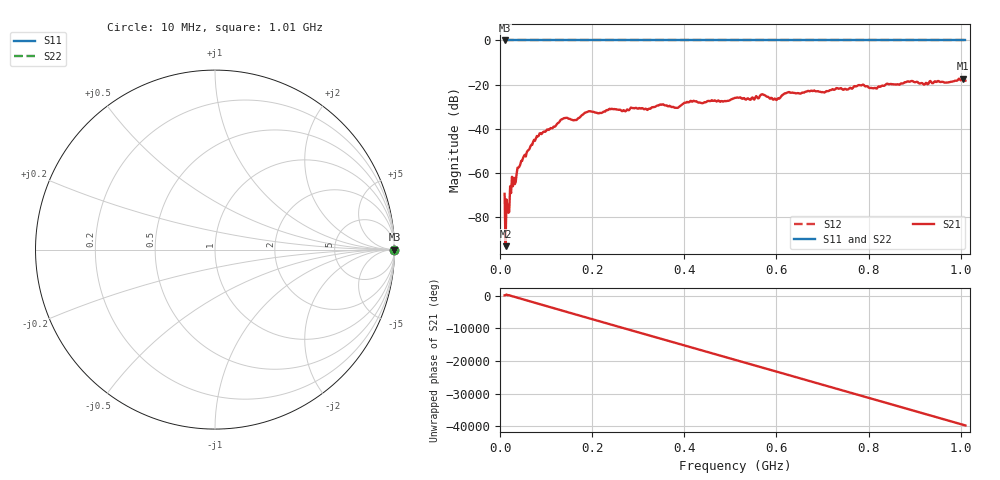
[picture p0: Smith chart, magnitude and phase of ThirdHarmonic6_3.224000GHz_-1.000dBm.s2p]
! 8/17/2025 9:51:11 AM
! C:\ANRITSUVNA\TEMP\TEMP.S2P
! CHANNEL.1
! TR.MEASUREMENT
! RAW.DATA
! RF.CORRECTION.OFF
! AVERAGING.OFF
! IF.BANDWIDTH: 5KHZ
! SWEEPTYPE:  FREQ.SWEEP(Linear)
! Reference Plane Port Info
! PORT:  PORT1  PORT2
! DISTANCE:  0  m  0  m
! TIME:  0  s  0  s
! PHASE.OFFSET:  0  deg.  0  deg.
! LOSS:  0  dB  0  dB
! REF.LOSS:  0  dB  0  dB
! REF.FREQ:  0  Hz  0  Hz
! Power Info
! POWER:  -20  dBm  -20  dBm
! EFF.POWER:  -20  dBm  -20  dBm
! SOURCE.ATTEN:  0  dB  0  dB
! TEST.ATTEN:  0  dB  0  dB
# GHZ S RI R 50.0
! FREQ.GHZ  S11RE  S11IM  S21RE  S21IM  S12RE  S12IM  S22RE  S22IM
!; PortSelection: Port_12
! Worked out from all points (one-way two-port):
!   501 points, 10 MHz to 1.01 GHz, reference 50 ohm
!   highest |S21| = -17.30 dB at 1.004 GHz (marker M1); lowest = -93.3 dB at 12 MHz (marker M2)
!   lowest |S11| = 0.0 dB at 10 MHz (marker M3)
!   |S11| at or under -10 dB: nowhere
!   |S22| runs from 0.0 to 0.0 dB; largest |S21 - S12| = 1.1
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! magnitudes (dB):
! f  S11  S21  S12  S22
! 10 MHz  0.0  -69.6  0.0  0.0
! 12 MHz  0.0  -93.3  0.0  0.0
! 16 MHz  0.0  -75.2  0.0  0.0
! 26 MHz  0.0  -61.9  0.0  0.0
! 32 MHz  0.0  -65.2  0.0  0.0
! 42 MHz  0.0  -57.3  0.0  0.0
! 82 MHz  0.0  -43.6  0.0  0.0
! 136 MHz  0.0  -35.6  0.0  0.0
! 162 MHz  0.0  -36.1  0.0  0.0
! 178 MHz  0.0  -33.8  0.0  0.0
! 344 MHz  0.0  -29.5  0.0  0.0
! 384 MHz  0.0  -30.6  0.0  0.0
! 416 MHz  0.0  -27.8  0.0  0.0
! 510 MHz  0.0  -26.0  0.0  0.0
! 570 MHz  0.0  -24.4  0.0  0.0
! 596 MHz  0.0  -26.3  0.0  0.0
! 624 MHz  0.0  -23.6  0.0  0.0
! 678 MHz  0.0  -23.0  0.0  0.0
! 814 MHz  0.0  -21.5  0.0  0.0
! 844 MHz  0.0  -19.9  0.0  0.0
! 1.004 GHz  0.0  -17.3  0.0  0.0
! 1.01 GHz  0.0  -18.2  0.0  0.0
